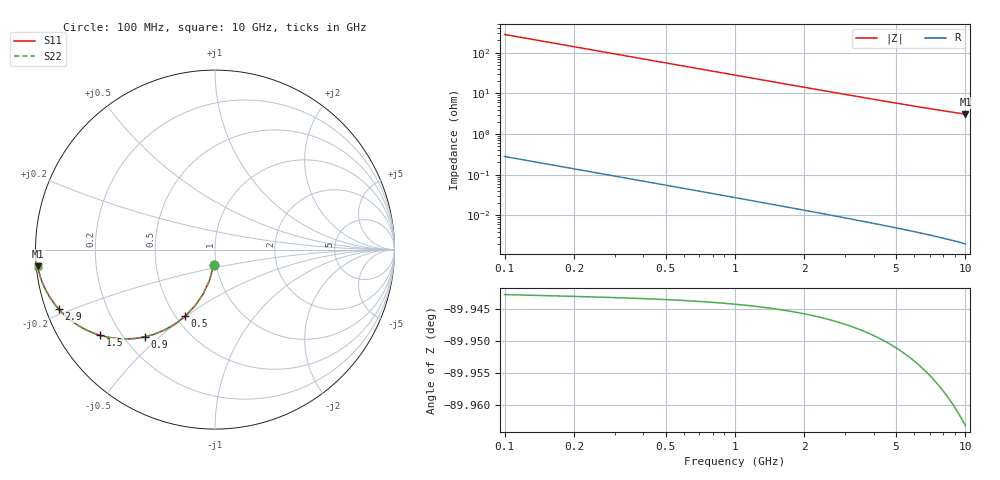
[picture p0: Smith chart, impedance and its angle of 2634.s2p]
# Hz S RI R 50.00
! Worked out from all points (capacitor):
!   100 points, 100 MHz to 10 GHz, reference 50 ohm
!   read as one part in shunt: C = 5.68 pF near 100 MHz
!   lowest |Z| = 3.08 ohm at 10 GHz (marker M1)
!   S11 on the Smith chart (normalised r, x): 100 MHz: 0.97, -0.17; 500 MHz: 0.56, -0.50; 900 MHz: 0.28, -0.45; 1.5 GHz: 0.12, -0.33; 2.9 GHz: 0.04, -0.18; 10 GHz: 0.00, -0.05
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1e8  -0.00794 -0.0883  0.992 -0.0886  0.992 -0.0886  -0.00794 -0.0883
2e8  -0.031 -0.1725  0.969 -0.1731  0.969 -0.1731  -0.031 -0.1725
3e8  -0.067 -0.2491  0.933 -0.2499  0.933 -0.2499  -0.067 -0.2491
4e8  -0.1131 -0.3157  0.8868 -0.3168  0.8868 -0.3168  -0.1131 -0.3157
5e8  -0.166 -0.371  0.8339 -0.3723  0.8339 -0.3723  -0.166 -0.371
6e8  -0.2227 -0.4148  0.7772 -0.4164  0.7772 -0.4164  -0.2227 -0.4148
7e8  -0.2805 -0.4478  0.7194 -0.4497  0.7194 -0.4497  -0.2805 -0.4478
9e8  -0.3917 -0.4865  0.6082 -0.4888  0.6082 -0.4888  -0.3917 -0.4865
1e9  -0.4428 -0.4949  0.5571 -0.4975  0.5571 -0.4975  -0.4428 -0.4949
1.2e9  -0.5335 -0.4968  0.4664 -0.4999  0.4664 -0.4999  -0.5335 -0.4968
1.5e9  -0.6411 -0.4772  0.3589 -0.4811  0.3589 -0.4811  -0.6411 -0.4772
1.8e9  -0.7199 -0.4461  0.28 -0.4509  0.28 -0.4509  -0.7199 -0.4461
2e9  -0.7603 -0.4237  0.2396 -0.429  0.2396 -0.429  -0.7603 -0.4237
2.3e9  -0.8074 -0.3907  0.1925 -0.3968  0.1925 -0.3968  -0.8074 -0.3907
2.6e9  -0.8427 -0.3601  0.1572 -0.367  0.1572 -0.367  -0.8427 -0.3601
2.9e9  -0.8695 -0.3324  0.1304 -0.3401  0.1304 -0.3401  -0.8695 -0.3324
3.4e9  -0.9016 -0.2928  0.0983 -0.3018  0.0983 -0.3018  -0.9016 -0.2928
4.2e9  -0.9333 -0.2433  0.0666 -0.2545  0.0666 -0.2545  -0.9333 -0.2433
5.1e9  -0.9538 -0.2022  0.046 -0.216  0.046 -0.216  -0.9538 -0.2022
6.7e9  -0.9729 -0.1524  0.0269 -0.1707  0.0269 -0.1707  -0.9729 -0.1524
8.4e9  -0.9827 -0.1174  0.0169 -0.1408  0.0169 -0.1408  -0.9827 -0.1174
1e10  -0.9878 -0.0937  0.0117 -0.122  0.0117 -0.122  -0.9878 -0.0937
